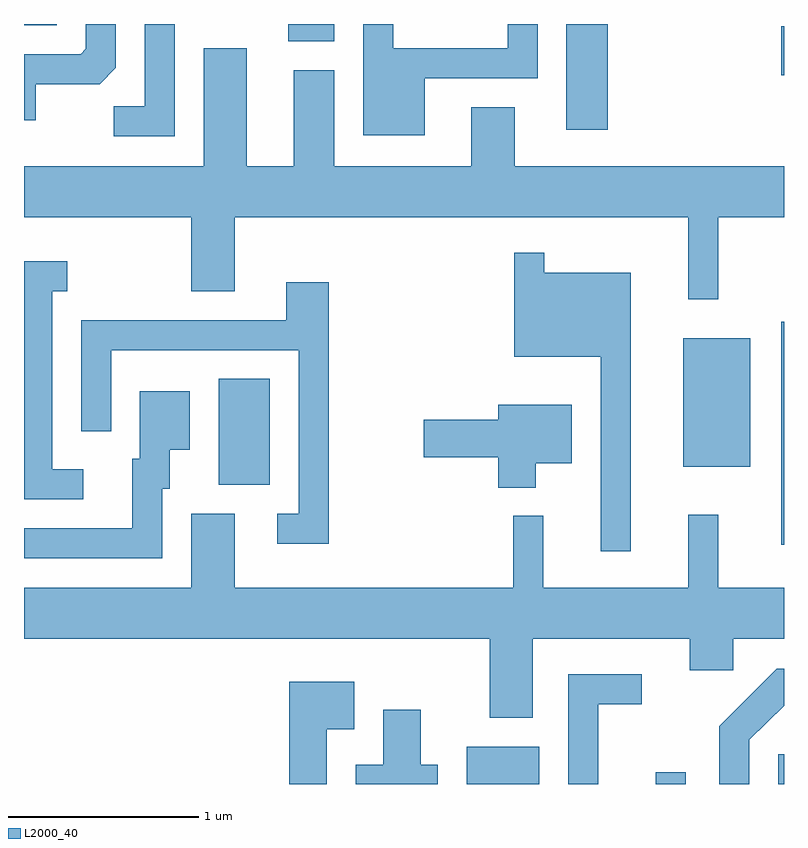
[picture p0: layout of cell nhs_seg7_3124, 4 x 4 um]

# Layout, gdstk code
import gdstk
lib = gdstk.Library(unit=1e-6, precision=1e-09)
def R(c, l, rs):  # rectangles x0, y0, x1, y1
    for r in rs: c.add(gdstk.rectangle(r[:2], r[2:], *l))
def P(c, l, *ps):  # polygons
    for p in ps: c.add(gdstk.Polygon(p, *l))
L2000_40 = (2000, 40)

nhs_seg7_3124 = lib.new_cell('nhs_seg7_3124')
R(nhs_seg7_3124, L2000_40, [(283.941,1680.252,284.324,1680.449), (284.936,1680.252,285.094,1680.313), (285.581,1680.252,285.611,1680.409), (285.596,1681.511,285.611,1682.684), (282.636,1681.826,282.904,1682.384), (285.081,1681.921,285.434,1682.599), (284.466,1683.696,284.684,1684.252), (285.596,1683.981,285.611,1684.239), (283.001,1684.161,283.244,1684.252), (281.611,1684.246,281.784,1684.252)])
P(nhs_seg7_3124, L2000_40, [(282.404,1684.252),(282.246,1684.252),(282.246,1683.819),(282.083,1683.819),(282.083,1683.661),(282.404,1683.661)],
  [(283.719,1683.966),(284.314,1683.966),(284.314,1684.252),(284.156,1684.252),(284.156,1684.124),(283.554,1684.124),(283.554,1684.252),(283.396,1684.252),(283.396,1683.666),(283.719,1683.666)],
  [(281.674,1683.936),(282.009,1683.936),(282.094,1684.022),(282.094,1684.252),(281.936,1684.252),(281.936,1684.122),(281.909,1684.094),(281.611,1684.094),(281.611,1683.746),(281.674,1683.746)],
  [(285.264,1683.236),(285.611,1683.236),(285.611,1683.504),(284.194,1683.504),(284.194,1683.814),(283.966,1683.814),(283.966,1683.504),(283.244,1683.504),(283.244,1684.009),(283.031,1684.009),(283.031,1683.504),(282.784,1683.504),(282.784,1684.124),(282.556,1684.124),(282.556,1683.504),(281.611,1683.504),(281.611,1683.236),(282.491,1683.236),(282.491,1682.846),(282.719,1682.846),(282.719,1683.236),(285.106,1683.236),(285.106,1682.803),(285.264,1682.803)],
  [(284.804,1682.944),(284.349,1682.944),(284.349,1683.048),(284.191,1683.048),(284.191,1682.501),(284.646,1682.501),(284.646,1681.478),(284.804,1681.478)],
  [(281.923,1681.909),(281.759,1681.909),(281.759,1682.846),(281.838,1682.846),(281.838,1683.004),(281.611,1683.004),(281.611,1681.751),(281.923,1681.751)],
  [(283.214,1682.894),(282.991,1682.894),(282.991,1682.694),(281.911,1682.694),(281.911,1682.108),(282.069,1682.108),(282.069,1682.536),(283.056,1682.536),(283.056,1681.674),(282.943,1681.674),(282.943,1681.516),(283.214,1681.516)],
  [(282.339,1681.806),(282.379,1681.806),(282.379,1682.011),(282.484,1682.011),(282.484,1682.319),(282.221,1682.319),(282.221,1681.964),(282.181,1681.964),(282.181,1681.599),(281.611,1681.599),(281.611,1681.441),(282.339,1681.441)],
  [(284.304,1681.941),(284.494,1681.941),(284.494,1682.249),(284.106,1682.249),(284.106,1682.169),(283.716,1682.169),(283.716,1681.971),(284.106,1681.971),(284.106,1681.811),(284.304,1681.811)],
  [(284.289,1681.016),(285.116,1681.016),(285.116,1680.851),(285.344,1680.851),(285.344,1681.016),(285.611,1681.016),(285.611,1681.284),(285.264,1681.284),(285.264,1681.668),(285.106,1681.668),(285.106,1681.284),(284.344,1681.284),(284.344,1681.663),(284.186,1681.663),(284.186,1681.284),(282.719,1681.284),(282.719,1681.674),(282.491,1681.674),(282.491,1681.284),(281.611,1681.284),(281.611,1681.016),(284.061,1681.016),(284.061,1680.601),(284.289,1680.601)],
  [(285.429,1680.484),(285.611,1680.665),(285.611,1680.859),(285.574,1680.859),(285.271,1680.557),(285.271,1680.252),(285.429,1680.252)],
  [(284.634,1680.671),(284.863,1680.671),(284.863,1680.829),(284.476,1680.829),(284.476,1680.252),(284.634,1680.252)],
  [(283.204,1680.541),(283.349,1680.541),(283.349,1680.789),(283.006,1680.789),(283.006,1680.252),(283.204,1680.252)],
  [(283.789,1680.354),(283.699,1680.354),(283.699,1680.644),(283.501,1680.644),(283.501,1680.354),(283.356,1680.354),(283.356,1680.252),(283.789,1680.252)])

lib.write_gds('nhs_seg7_3124.gds')
